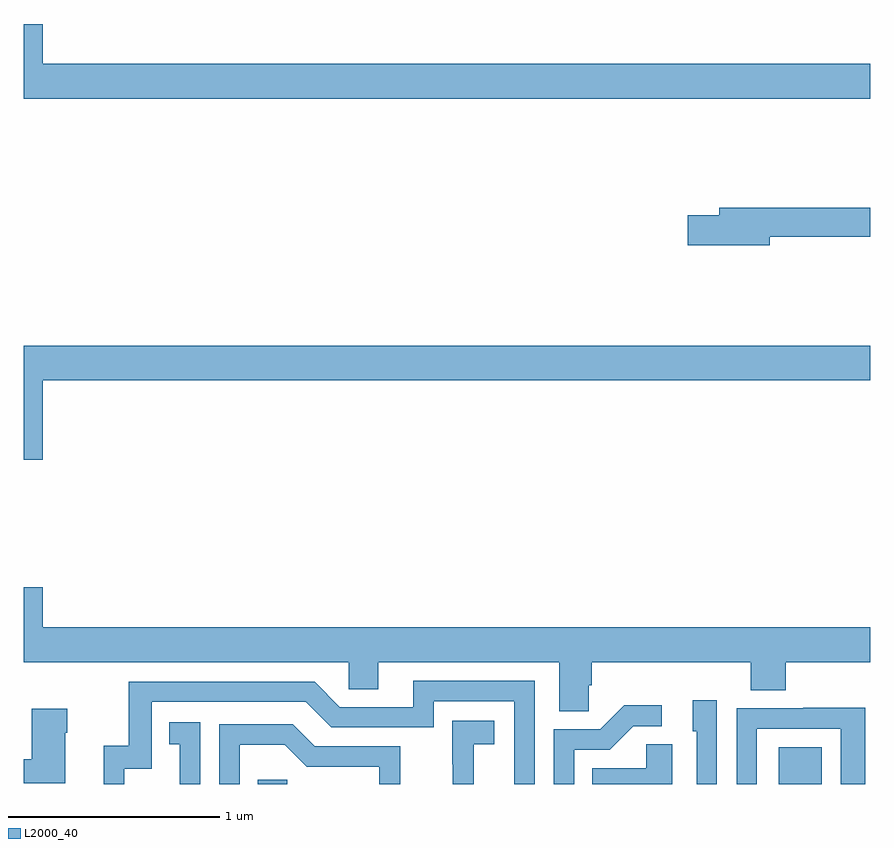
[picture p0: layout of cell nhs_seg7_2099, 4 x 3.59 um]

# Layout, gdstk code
import gdstk
lib = gdstk.Library(unit=1e-6, precision=1e-09)
def R(c, l, rs):  # rectangles x0, y0, x1, y1
    for r in rs: c.add(gdstk.rectangle(r[:2], r[2:], *l))
def P(c, l, *ps):  # polygons
    for p in ps: c.add(gdstk.Polygon(p, *l))
L2000_40 = (2000, 40)

nhs_seg7_2099 = lib.new_cell('nhs_seg7_2099')
R(nhs_seg7_2099, L2000_40, [(250.105,1040,250.245,1040.019), (252.569,1040,252.772,1040.173)])
P(nhs_seg7_2099, L2000_40, [(253,1043.404),(249.088,1043.404),(249.088,1043.593),(249,1043.593),(249,1043.24),(253,1043.24)],
  [(252.526,1042.588),(253,1042.588),(253,1042.724),(252.287,1042.724),(252.287,1042.688),(252.138,1042.688),(252.138,1042.546),(252.526,1042.546)],
  [(249.088,1041.908),(253,1041.908),(253,1042.072),(249,1042.072),(249,1041.534),(249.088,1041.534)],
  [(251.67,1040.467),(251.684,1040.467),(251.684,1040.576),(252.437,1040.576),(252.437,1040.443),(252.602,1040.443),(252.602,1040.576),(253,1040.576),(253,1040.74),(249.088,1040.74),(249.088,1040.929),(249,1040.929),(249,1040.576),(250.536,1040.576),(250.536,1040.449),(250.675,1040.449),(250.675,1040.576),(251.531,1040.576),(251.531,1040.344),(251.67,1040.344)],
  [(249.474,1040.073),(249.603,1040.073),(249.603,1040.388),(250.332,1040.388),(250.452,1040.268),(250.938,1040.268),(250.938,1040.391),(251.319,1040.391),(251.319,1040),(251.415,1040),(251.415,1040.487),(250.841,1040.487),(250.841,1040.364),(250.494,1040.364),(250.374,1040.484),(249.495,1040.484),(249.495,1040.182),(249.377,1040.182),(249.377,1040),(249.474,1040)],
  [(252.276,1040.395),(252.161,1040.395),(252.161,1040.25),(252.18,1040.25),(252.18,1040),(252.276,1040)],
  [(251.601,1040.163),(251.77,1040.163),(251.881,1040.274),(252.016,1040.274),(252.016,1040.372),(251.837,1040.372),(251.724,1040.259),(251.505,1040.259),(251.505,1040),(251.601,1040)],
  [(252.465,1040.262),(252.861,1040.262),(252.861,1040),(252.977,1040),(252.977,1040.36),(252.685,1040.36),(252.685,1040.358),(252.369,1040.358),(252.369,1040),(252.465,1040)],
  [(249.196,1040.243),(249.204,1040.243),(249.204,1040.356),(249.038,1040.356),(249.038,1040.117),(249,1040.117),(249,1040.003),(249.196,1040.003)],
  [(251.126,1040.189),(251.224,1040.189),(251.224,1040.299),(251.026,1040.299),(251.026,1040.093),(251.027,1040.093),(251.027,1040),(251.126,1040)],
  [(249.834,1040.293),(249.688,1040.293),(249.688,1040.187),(249.737,1040.187),(249.737,1040),(249.834,1040)],
  [(250.02,1040.186),(250.234,1040.186),(250.338,1040.082),(250.68,1040.082),(250.68,1040),(250.779,1040),(250.779,1040.178),(250.375,1040.178),(250.27,1040.283),(249.924,1040.283),(249.924,1040),(250.02,1040)],
  [(252.064,1040.189),(251.943,1040.189),(251.943,1040.074),(251.686,1040.074),(251.686,1040),(252.064,1040)])

lib.write_gds('nhs_seg7_2099.gds')
